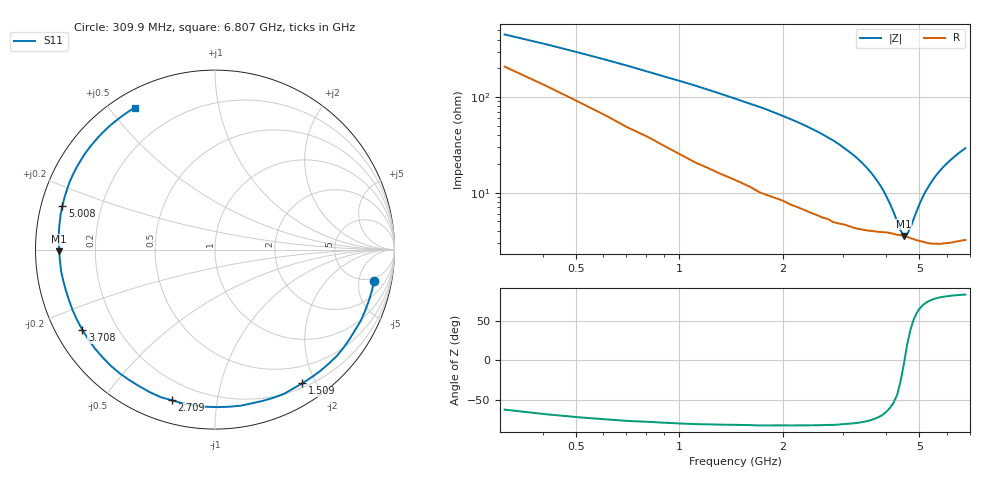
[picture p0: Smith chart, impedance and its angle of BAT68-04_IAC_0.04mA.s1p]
! Infineon Technologies  Discrete & RF Semiconductors
! BAT68-04
! IAC = 0.04 mA
! One-Port S-Parameters
# Hz  S  MA  R  50
!f  S11
!Hz  Mag  Ang
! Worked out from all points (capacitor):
!   66 points, 309.9 MHz to 6.807 GHz, reference 50 ohm
!   read as one part to ground: C = 1.16 pF near 309.9 MHz
!   lowest |Z| = 3.53 ohm at 4.508 GHz (marker M1)
!   series resonance near 4.523 GHz, so ESL is about 1.1 nH
!   S11 on the Smith chart (normalised r, x): 309.9 MHz: 4.16, -8.03; 1.509 GHz: 0.26, -1.82; 2.709 GHz: 0.11, -0.75; 3.708 GHz: 0.08, -0.28; 5.008 GHz: 0.06, +0.14; 6.807 GHz: 0.06, +0.58
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3.0985e8  0.9041 -11.2
5.0975e8  0.9034 -18.6
7.0965e8  0.9039 -26.0
1.0095e9  0.9008 -37.3
1.2094e9  0.8975 -45.0
1.50925e9  0.8896 -56.8
1.70915e9  0.8907 -64.3
2.009e9  0.8805 -76.7
2.2089e9  0.879 -84.8
2.4088e9  0.8771 -93.2
2.70865e9  0.8732 -106.0
2.8086e9  0.876 -110.0
3.0085e9  0.8704 -119.0
3.2084e9  0.8702 -127.6
3.4083e9  0.8676 -136.1
3.6082e9  0.8652 -144.6
3.70815e9  0.8638 -148.8
4.008e9  0.8611 -161.1
4.2079e9  0.8633 -168.5
4.4078e9  0.8663 -175.9
4.50775e9  0.8684 -179.4
4.70765e9  0.8753 173.9
5.0075e9  0.8847 164.1
5.2074e9  0.8902 157.8
5.6072e9  0.8982 146.3
6.007e9  0.9027 136.4
6.30685e9  0.9053 129.6
6.8066e9  0.9089 119.6
